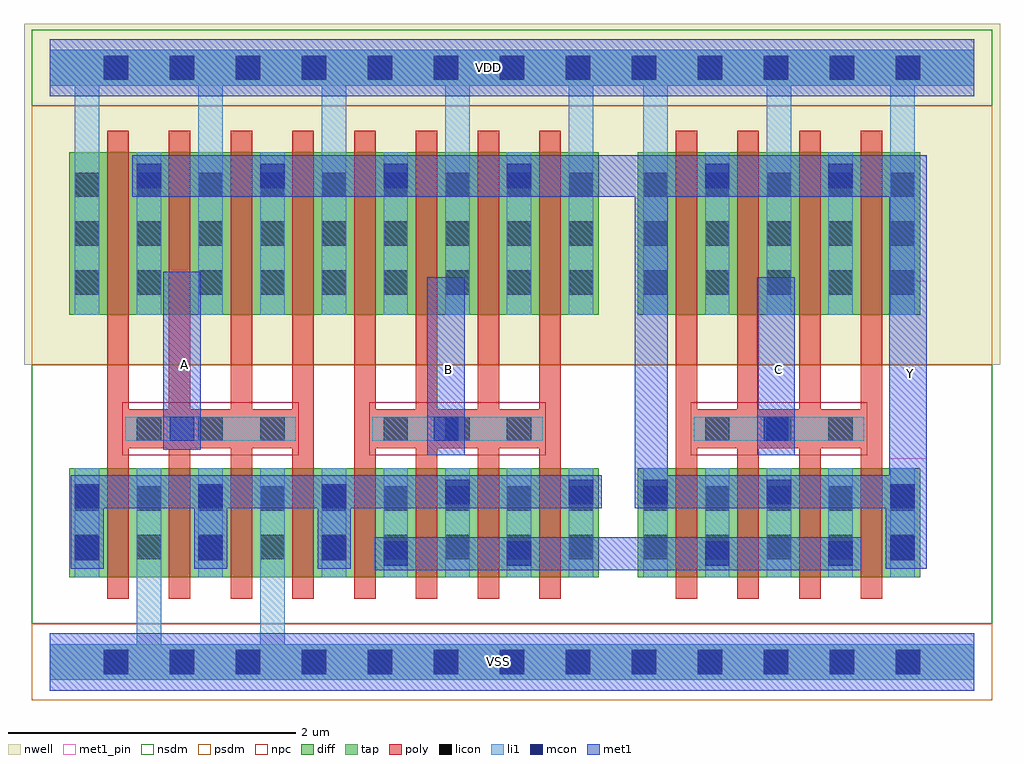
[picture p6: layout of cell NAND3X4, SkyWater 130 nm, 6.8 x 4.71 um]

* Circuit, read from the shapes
.subckt NAND3X4 A B C VDD VSS Y
XM1 VSS A n1 VSS sky130_fd_pr__nfet_01v8 w=0.76 l=0.15 m=4
XM2 n2 B n1 VSS sky130_fd_pr__nfet_01v8 w=0.76 l=0.15 m=4
XM3 n2 C Y VSS sky130_fd_pr__nfet_01v8 w=0.76 l=0.15 m=4
XM4 Y A VDD VDD sky130_fd_pr__pfet_01v8 w=1.13 l=0.15 m=4
XM5 Y B VDD VDD sky130_fd_pr__pfet_01v8 w=1.13 l=0.15 m=4
XM6 Y C VDD VDD sky130_fd_pr__pfet_01v8 w=1.13 l=0.15 m=4
.ends

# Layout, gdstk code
from math import pi, radians
import gdstk
lib = gdstk.Library(unit=1e-6, precision=1e-09)
def R(c, l, rs):  # rectangles x0, y0, x1, y1
    for r in rs: c.add(gdstk.rectangle(r[:2], r[2:], *l))
def A(c, l, x, y, w, h, nx, ny, dx, dy):  # array of equal rectangles
    R(c, l, [(x+i*dx, y+j*dy, x+i*dx+w, y+j*dy+h) for i in range(nx) for j in range(ny)])
nwell = (64, 20)
diff = (65, 20)
tap = (65, 44)
poly = (66, 20)
licon = (66, 44)
li1 = (67, 20)
mcon = (67, 44)
met1_pin = (68, 16)
met1 = (68, 20)
nsdm = (93, 44)
psdm = (94, 20)
npc = (95, 20)

pfet_01v8_cdns_716492285 = lib.new_cell('pfet_01v8_CDNS_71649228522155')
R(pfet_01v8_cdns_716492285, nwell, [(-0.235,-0.18,1.885,1.31)])
A(pfet_01v8_cdns_716492285, diff, 0, 0, 0.15, 1.13, 4, 1, 0.43, 0)
A(pfet_01v8_cdns_716492285, diff, 0.15, 0, 0.28, 1.13, 3, 1, 0.43, 0)
R(pfet_01v8_cdns_716492285, diff, [(-0.055,0,0,1.13), (1.44,0,1.705,1.13)])
A(pfet_01v8_cdns_716492285, poly, 0, -0.15, 0.15, 0.055, 4, 2, 0.43, 1.375)
A(pfet_01v8_cdns_716492285, poly, 0, -0.095, 0.15, 0.095, 4, 2, 0.43, 1.225)
A(pfet_01v8_cdns_716492285, poly, 0, 0, 0.15, 1.13, 4, 1, 0.43, 0)
A(pfet_01v8_cdns_716492285, licon, 0.205, 0.14, 0.17, 0.17, 4, 3, 0.43, 0.34)
A(pfet_01v8_cdns_716492285, li1, 0.205, 0, 0.17, 1.13, 4, 1, 0.43, 0)
R(pfet_01v8_cdns_716492285, psdm, [(-0.065,-0.13,1.845,1.26)])

nfet_01v8_cdns_716492285 = lib.new_cell('nfet_01v8_CDNS_7164922852269')
A(nfet_01v8_cdns_716492285, diff, 0, 0, 0.15, 0.76, 4, 1, 0.43, 0)
A(nfet_01v8_cdns_716492285, diff, 0.15, 0, 0.28, 0.76, 3, 1, 0.43, 0)
R(nfet_01v8_cdns_716492285, diff, [(-0.265,0,0,0.76), (1.44,0,1.705,0.76)])
A(nfet_01v8_cdns_716492285, poly, 0, -0.15, 0.15, 0.055, 4, 2, 0.43, 1.005)
A(nfet_01v8_cdns_716492285, poly, 0, -0.095, 0.15, 0.095, 4, 2, 0.43, 0.855)
A(nfet_01v8_cdns_716492285, poly, 0, 0, 0.15, 0.76, 4, 1, 0.43, 0)
A(nfet_01v8_cdns_716492285, licon, -0.225, 0.125, 0.17, 0.17, 5, 2, 0.43, 0.34)
A(nfet_01v8_cdns_716492285, li1, -0.225, 0, 0.17, 0.76, 5, 1, 0.43, 0)
R(nfet_01v8_cdns_716492285, nsdm, [(-0.405,-0.13,1.845,0.89)])

c_nfet_01v8_cdns_716492285 = lib.new_cell('nfet_01v8_CDNS_71649228522153')
A(c_nfet_01v8_cdns_716492285, diff, 0, 0, 0.15, 0.76, 4, 1, 0.43, 0)
A(c_nfet_01v8_cdns_716492285, diff, 0.15, 0, 0.28, 0.76, 3, 1, 0.43, 0)
R(c_nfet_01v8_cdns_716492285, diff, [(-0.055,0,0,0.76), (1.44,0,1.705,0.76)])
A(c_nfet_01v8_cdns_716492285, poly, 0, -0.15, 0.15, 0.055, 4, 2, 0.43, 1.005)
A(c_nfet_01v8_cdns_716492285, poly, 0, -0.095, 0.15, 0.095, 4, 2, 0.43, 0.855)
A(c_nfet_01v8_cdns_716492285, poly, 0, 0, 0.15, 0.76, 4, 1, 0.43, 0)
A(c_nfet_01v8_cdns_716492285, licon, 0.205, 0.125, 0.17, 0.17, 4, 2, 0.43, 0.34)
A(c_nfet_01v8_cdns_716492285, li1, 0.205, 0, 0.17, 0.76, 4, 1, 0.43, 0)
R(c_nfet_01v8_cdns_716492285, nsdm, [(-0.065,-0.13,1.845,0.89)])

c_pfet_01v8_cdns_716492285 = lib.new_cell('pfet_01v8_CDNS_7164922852280')
R(c_pfet_01v8_cdns_716492285, nwell, [(-0.445,-0.18,1.845,1.31)])
A(c_pfet_01v8_cdns_716492285, diff, 0, 0, 0.15, 1.13, 4, 1, 0.43, 0)
A(c_pfet_01v8_cdns_716492285, diff, 0.15, 0, 0.28, 1.13, 3, 1, 0.43, 0)
R(c_pfet_01v8_cdns_716492285, diff, [(-0.265,0,0,1.13), (1.44,0,1.665,1.13)])
A(c_pfet_01v8_cdns_716492285, poly, 0, -0.15, 0.15, 0.055, 4, 2, 0.43, 1.375)
A(c_pfet_01v8_cdns_716492285, poly, 0, -0.095, 0.15, 0.095, 4, 2, 0.43, 1.225)
A(c_pfet_01v8_cdns_716492285, poly, 0, 0, 0.15, 1.13, 4, 1, 0.43, 0)
A(c_pfet_01v8_cdns_716492285, licon, -0.225, 0.14, 0.17, 0.17, 5, 3, 0.43, 0.34)
A(c_pfet_01v8_cdns_716492285, li1, -0.225, 0, 0.17, 1.13, 5, 1, 0.43, 0)
R(c_pfet_01v8_cdns_716492285, psdm, [(-0.405,-0.13,1.675,1.26)])

c_pfet_01v8_cdns_716492285_ = lib.new_cell('pfet_01v8_CDNS_71649228522158')
R(c_pfet_01v8_cdns_716492285_, nwell, [(-0.445,-0.18,1.885,1.31)])
A(c_pfet_01v8_cdns_716492285_, diff, 0, 0, 0.15, 1.13, 4, 1, 0.43, 0)
A(c_pfet_01v8_cdns_716492285_, diff, 0.15, 0, 0.28, 1.13, 3, 1, 0.43, 0)
R(c_pfet_01v8_cdns_716492285_, diff, [(-0.265,0,0,1.13), (1.44,0,1.705,1.13)])
A(c_pfet_01v8_cdns_716492285_, poly, 0, -0.15, 0.15, 0.055, 4, 2, 0.43, 1.375)
A(c_pfet_01v8_cdns_716492285_, poly, 0, -0.095, 0.15, 0.095, 4, 2, 0.43, 1.225)
A(c_pfet_01v8_cdns_716492285_, poly, 0, 0, 0.15, 1.13, 4, 1, 0.43, 0)
A(c_pfet_01v8_cdns_716492285_, licon, -0.225, 0.14, 0.17, 0.17, 5, 3, 0.43, 0.34)
A(c_pfet_01v8_cdns_716492285_, li1, -0.225, 0, 0.17, 1.13, 5, 1, 0.43, 0)
R(c_pfet_01v8_cdns_716492285_, psdm, [(-0.405,-0.13,1.845,1.26)])

c_nfet_01v8_cdns_716492285_ = lib.new_cell('nfet_01v8_CDNS_71649228522154')
A(c_nfet_01v8_cdns_716492285_, diff, 0, 0, 0.15, 0.76, 4, 1, 0.43, 0)
A(c_nfet_01v8_cdns_716492285_, diff, 0.15, 0, 0.28, 0.76, 3, 1, 0.43, 0)
R(c_nfet_01v8_cdns_716492285_, diff, [(-0.265,0,0,0.76), (1.44,0,1.665,0.76)])
A(c_nfet_01v8_cdns_716492285_, poly, 0, -0.15, 0.15, 0.055, 4, 2, 0.43, 1.005)
A(c_nfet_01v8_cdns_716492285_, poly, 0, -0.095, 0.15, 0.095, 4, 2, 0.43, 0.855)
A(c_nfet_01v8_cdns_716492285_, poly, 0, 0, 0.15, 0.76, 4, 1, 0.43, 0)
A(c_nfet_01v8_cdns_716492285_, licon, -0.225, 0.125, 0.17, 0.17, 5, 2, 0.43, 0.34)
A(c_nfet_01v8_cdns_716492285_, li1, -0.225, 0, 0.17, 0.76, 5, 1, 0.43, 0)
R(c_nfet_01v8_cdns_716492285_, nsdm, [(-0.405,-0.13,1.675,0.89)])

pyl1con_c_cdns_716492285 = lib.new_cell('PYL1CON_C_CDNS_716492285220')
R(pyl1con_c_cdns_716492285, poly, [(-0.135,-0.165,0.135,0.165)])
R(pyl1con_c_cdns_716492285, licon, [(-0.085,-0.085,0.085,0.085)])
R(pyl1con_c_cdns_716492285, npc, [(-0.185,-0.185,0.185,0.185)])

l1m1_c_cdns_716492285223 = lib.new_cell('L1M1_C_CDNS_716492285223')
R(l1m1_c_cdns_716492285223, li1, [(-0.165,-0.085,0.165,0.085)])
R(l1m1_c_cdns_716492285223, mcon, [(-0.085,-0.085,0.085,0.085)])
R(l1m1_c_cdns_716492285223, met1, [(-0.115,-0.145,0.115,0.145)])

l1m1_c_cdns_716492285226 = lib.new_cell('L1M1_C_CDNS_716492285226')
R(l1m1_c_cdns_716492285226, li1, [(-0.085,-0.165,0.085,0.165)])
R(l1m1_c_cdns_716492285226, mcon, [(-0.085,-0.085,0.085,0.085)])
R(l1m1_c_cdns_716492285226, met1, [(-0.145,-0.115,0.145,0.115)])

l1m1_c_cdns_716492285222 = lib.new_cell('L1M1_C_CDNS_716492285222')
R(l1m1_c_cdns_716492285222, li1, [(-0.085,-0.165,0.085,0.165)])
R(l1m1_c_cdns_716492285222, mcon, [(-0.085,-0.085,0.085,0.085)])
R(l1m1_c_cdns_716492285222, met1, [(-0.115,-0.145,0.115,0.145)])

l1m1_c_cdns_716492285225 = lib.new_cell('L1M1_C_CDNS_716492285225')
R(l1m1_c_cdns_716492285225, li1, [(-0.085,-0.345,0.085,0.345)])
R(l1m1_c_cdns_716492285225, mcon, [(-0.085,-0.265,0.085,-0.095), (-0.085,0.095,0.085,0.265)])
R(l1m1_c_cdns_716492285225, met1, [(-0.115,-0.325,0.115,0.325)])

nand3x4 = lib.new_cell('NAND3X4')
R(nand3x4, nwell, [(-0.18,2.07,6.62,4.305), (-0.18,3.875,6.62,4.445)])
A(nand3x4, licon, 0.375, -0.085, 0.17, 0.17, 13, 2, 0.46, 4.14)
A(nand3x4, mcon, 0.375, -0.085, 0.17, 0.17, 13, 2, 0.46, 4.14)
R(nand3x4, met1_pin, [(5.85,1.415,6.11,2.655), (2.63,1.44,2.89,2.68), (4.93,1.44,5.19,2.68), (0.79,1.48,1.05,2.72)])
R(nand3x4, nsdm, [(-0.125,0.265,6.565,2.07), (-0.125,3.875,6.565,4.405), (-0.125,3.93,6.565,4.35)])
R(nand3x4, psdm, [(-0.125,-0.265,6.565,0.265), (-0.125,-0.21,6.565,0.21), (-0.125,2.07,6.565,3.875)])
R(nand3x4, npc, [(0.505,1.44,1.735,1.81), (2.225,1.44,3.455,1.81), (4.465,1.44,5.695,1.81)])
nand3x4.add(gdstk.FlexPath([(0.475,2.42),(0.475,1.35)], 0.15, ends="flush", simple_path=True, layer=66, datatype=20))  # poly
nand3x4.add(gdstk.FlexPath([(1.335,2.42),(1.335,1.35)], 0.15, ends="flush", simple_path=True, layer=66, datatype=20))  # poly
nand3x4.add(gdstk.FlexPath([(2.195,2.42),(2.195,1.35)], 0.15, ends="flush", simple_path=True, layer=66, datatype=20))  # poly
nand3x4.add(gdstk.FlexPath([(3.055,2.42),(3.055,1.35)], 0.15, ends="flush", simple_path=True, layer=66, datatype=20))  # poly
nand3x4.add(gdstk.FlexPath([(4.435,2.42),(4.435,1.35)], 0.15, ends="flush", simple_path=True, layer=66, datatype=20))  # poly
nand3x4.add(gdstk.FlexPath([(5.295,2.42),(5.295,1.35)], 0.15, ends="flush", simple_path=True, layer=66, datatype=20))  # poly
nand3x4.add(gdstk.FlexPath([(0.905,2.42),(0.905,1.35)], 0.15, ends="flush", simple_path=True, layer=66, datatype=20))  # poly
nand3x4.add(gdstk.FlexPath([(1.765,2.42),(1.765,1.35)], 0.15, ends="flush", simple_path=True, layer=66, datatype=20))  # poly
nand3x4.add(gdstk.FlexPath([(2.625,2.42),(2.625,1.35)], 0.15, ends="flush", simple_path=True, layer=66, datatype=20))  # poly
nand3x4.add(gdstk.FlexPath([(3.485,2.42),(3.485,1.35)], 0.15, ends="flush", simple_path=True, layer=66, datatype=20))  # poly
nand3x4.add(gdstk.FlexPath([(4.865,2.42),(4.865,1.35)], 0.15, ends="flush", simple_path=True, layer=66, datatype=20))  # poly
nand3x4.add(gdstk.FlexPath([(5.725,2.42),(5.725,1.35)], 0.15, ends="flush", simple_path=True, layer=66, datatype=20))  # poly
nand3x4.add(gdstk.FlexPath([(0.525,1.625),(1.715,1.625)], 0.17, ends="flush", simple_path=True, layer=67, datatype=20))  # li1
nand3x4.add(gdstk.FlexPath([(4.485,1.625),(5.675,1.625)], 0.17, ends="flush", simple_path=True, layer=67, datatype=20))  # li1
nand3x4.add(gdstk.FlexPath([(2.245,1.625),(3.435,1.625)], 0.17, ends="flush", simple_path=True, layer=67, datatype=20))  # li1
nand3x4.add(gdstk.FlexPath([(0,0),(6.44,0)], 0.25, ends="flush", simple_path=True, layer=67, datatype=20))  # li1
nand3x4.add(gdstk.FlexPath([(5.94,3.55),(5.94,4.265)], 0.17, ends="flush", simple_path=True, layer=67, datatype=20))  # li1
nand3x4.add(gdstk.FlexPath([(5.08,3.55),(5.08,4.265)], 0.17, ends="flush", simple_path=True, layer=67, datatype=20))  # li1
nand3x4.add(gdstk.FlexPath([(4.22,3.55),(4.22,4.265)], 0.17, ends="flush", simple_path=True, layer=67, datatype=20))  # li1
nand3x4.add(gdstk.FlexPath([(0,4.14),(6.44,4.14)], 0.25, ends="flush", simple_path=True, layer=67, datatype=20))  # li1
nand3x4.add(gdstk.FlexPath([(1.55,-0.125),(1.55,0.59)], 0.17, ends="flush", simple_path=True, layer=67, datatype=20))  # li1
nand3x4.add(gdstk.FlexPath([(0.26,3.55),(0.26,4.265)], 0.17, ends="flush", simple_path=True, layer=67, datatype=20))  # li1
nand3x4.add(gdstk.FlexPath([(1.98,3.55),(1.98,4.265)], 0.17, ends="flush", simple_path=True, layer=67, datatype=20))  # li1
nand3x4.add(gdstk.FlexPath([(3.7,3.55),(3.7,4.265)], 0.17, ends="flush", simple_path=True, layer=67, datatype=20))  # li1
nand3x4.add(gdstk.FlexPath([(0.69,-0.125),(0.69,0.59)], 0.17, ends="flush", simple_path=True, layer=67, datatype=20))  # li1
nand3x4.add(gdstk.FlexPath([(1.12,3.55),(1.12,4.265)], 0.17, ends="flush", simple_path=True, layer=67, datatype=20))  # li1
nand3x4.add(gdstk.FlexPath([(2.84,3.55),(2.84,4.265)], 0.17, ends="flush", simple_path=True, layer=67, datatype=20))  # li1
nand3x4.add(gdstk.FlexPath([(0,0),(6.44,0)], 0.25, ends="flush", simple_path=True, layer=65, datatype=44))  # tap
nand3x4.add(gdstk.FlexPath([(0,4.14),(6.44,4.14)], 0.25, ends="flush", simple_path=True, layer=65, datatype=44))  # tap
nand3x4.add(gdstk.FlexPath([(5.98,0.65),(5.98,3.53)], 0.26, ends="flush", simple_path=True, layer=68, datatype=20))  # met1
nand3x4.add(gdstk.FlexPath([(5.06,1.44),(5.06,2.68)], 0.26, ends="flush", simple_path=True, layer=68, datatype=20))  # met1
nand3x4.add(gdstk.FlexPath([(2.76,1.44),(2.76,2.68)], 0.26, ends="flush", simple_path=True, layer=68, datatype=20))  # met1
nand3x4.add(gdstk.FlexPath([(0.92,1.48),(0.92,2.72)], 0.26, ends="flush", simple_path=True, layer=68, datatype=20))  # met1
nand3x4.add(gdstk.FlexPath([(6.055,1.185),(4.075,1.185)], 0.23, ends="flush", simple_path=True, layer=68, datatype=20))  # met1
nand3x4.add(gdstk.FlexPath([(3.845,1.185),(0.145,1.185)], 0.23, ends="flush", simple_path=True, layer=68, datatype=20))  # met1
nand3x4.add(gdstk.FlexPath([(5.655,0.755),(2.265,0.755)], 0.23, ends="flush", simple_path=True, layer=68, datatype=20))  # met1
nand3x4.add(gdstk.FlexPath([(6.055,3.385),(0.575,3.385)], 0.29, ends="flush", simple_path=True, layer=68, datatype=20))  # met1
nand3x4.add(gdstk.FlexPath([(4.19,1.07),(4.19,3.53)], 0.23, ends="flush", simple_path=True, layer=68, datatype=20))  # met1
nand3x4.add(gdstk.FlexPath([(0,0),(6.44,0)], 0.4, ends="flush", simple_path=True, layer=68, datatype=20))  # met1
nand3x4.add(gdstk.FlexPath([(0,4.14),(6.44,4.14)], 0.4, ends="flush", simple_path=True, layer=68, datatype=20))  # met1
nand3x4.add(gdstk.FlexPath([(0,4.14),(6.44,4.14)], 0.4, ends="flush", simple_path=True, layer=68, datatype=16))  # met1_pin
nand3x4.add(gdstk.FlexPath([(0,0),(6.44,0)], 0.4, ends="flush", simple_path=True, layer=68, datatype=16))  # met1_pin
nand3x4.add(gdstk.Reference(pfet_01v8_cdns_716492285, (2.12,2.42)))
nand3x4.add(gdstk.Reference(nfet_01v8_cdns_716492285, (4.36,0.59)))
nand3x4.add(gdstk.Reference(c_nfet_01v8_cdns_716492285, (2.12,0.59)))
nand3x4.add(gdstk.Reference(c_pfet_01v8_cdns_716492285, (0.4,2.42)))
nand3x4.add(gdstk.Reference(c_pfet_01v8_cdns_716492285_, (4.36,2.42)))
nand3x4.add(gdstk.Reference(c_nfet_01v8_cdns_716492285_, (0.4,0.59)))
nand3x4.add(gdstk.Reference(pyl1con_c_cdns_716492285, (5.51,1.625), rotation=3*pi/2, x_reflection=True))
nand3x4.add(gdstk.Reference(pyl1con_c_cdns_716492285, (5.08,1.625), rotation=3*pi/2, x_reflection=True))
nand3x4.add(gdstk.Reference(pyl1con_c_cdns_716492285, (4.65,1.625), rotation=3*pi/2, x_reflection=True))
nand3x4.add(gdstk.Reference(pyl1con_c_cdns_716492285, (3.27,1.625), rotation=3*pi/2, x_reflection=True))
nand3x4.add(gdstk.Reference(pyl1con_c_cdns_716492285, (2.84,1.625), rotation=3*pi/2, x_reflection=True))
nand3x4.add(gdstk.Reference(pyl1con_c_cdns_716492285, (2.41,1.625), rotation=3*pi/2, x_reflection=True))
nand3x4.add(gdstk.Reference(pyl1con_c_cdns_716492285, (1.55,1.625), rotation=3*pi/2, x_reflection=True))
nand3x4.add(gdstk.Reference(pyl1con_c_cdns_716492285, (1.12,1.625), rotation=3*pi/2, x_reflection=True))
nand3x4.add(gdstk.Reference(pyl1con_c_cdns_716492285, (0.69,1.625), rotation=3*pi/2, x_reflection=True))
nand3x4.add(gdstk.Reference(l1m1_c_cdns_716492285223, (5.06,1.625), x_reflection=True))
nand3x4.add(gdstk.Reference(l1m1_c_cdns_716492285223, (2.76,1.625), x_reflection=True))
nand3x4.add(gdstk.Reference(l1m1_c_cdns_716492285223, (0.92,1.625), x_reflection=True))
nand3x4.add(gdstk.Reference(l1m1_c_cdns_716492285226, (5.08,1.185)))
nand3x4.add(gdstk.Reference(l1m1_c_cdns_716492285226, (4.22,1.185)))
nand3x4.add(gdstk.Reference(l1m1_c_cdns_716492285226, (3.7,1.185)))
nand3x4.add(gdstk.Reference(l1m1_c_cdns_716492285226, (2.84,1.185)))
nand3x4.add(gdstk.Reference(l1m1_c_cdns_716492285226, (5.51,0.755)))
nand3x4.add(gdstk.Reference(l1m1_c_cdns_716492285226, (4.65,0.755)))
nand3x4.add(gdstk.Reference(l1m1_c_cdns_716492285226, (3.27,0.755)))
nand3x4.add(gdstk.Reference(l1m1_c_cdns_716492285226, (2.41,0.755)))
nand3x4.add(gdstk.Reference(l1m1_c_cdns_716492285222, (5.51,3.385)))
nand3x4.add(gdstk.Reference(l1m1_c_cdns_716492285222, (4.65,3.385)))
nand3x4.add(gdstk.Reference(l1m1_c_cdns_716492285222, (3.27,3.385)))
nand3x4.add(gdstk.Reference(l1m1_c_cdns_716492285222, (2.41,3.385)))
nand3x4.add(gdstk.Reference(l1m1_c_cdns_716492285222, (1.55,3.385)))
nand3x4.add(gdstk.Reference(l1m1_c_cdns_716492285222, (0.69,3.385)))
nand3x4.add(gdstk.Reference(l1m1_c_cdns_716492285225, (5.94,0.975)))
nand3x4.add(gdstk.Reference(l1m1_c_cdns_716492285225, (1.12,0.975)))
nand3x4.add(gdstk.Reference(l1m1_c_cdns_716492285225, (1.98,0.975)))
nand3x4.add(gdstk.Reference(l1m1_c_cdns_716492285225, (0.26,0.975)))
nand3x4.add(gdstk.Label('Y', (5.995,2.01), layer=68, texttype=5))
nand3x4.add(gdstk.Label('C', (5.075,2.035), layer=68, texttype=5))
nand3x4.add(gdstk.Label('B', (2.775,2.035), layer=68, texttype=5))
nand3x4.add(gdstk.Label('A', (0.935,2.075), layer=68, texttype=5))
nand3x4.add(gdstk.Label('VDD', (3.055,4.145), layer=68, texttype=5))
nand3x4.add(gdstk.Label('VSS', (3.125,0.005), layer=68, texttype=5))

lib.write_gds('NAND3X4.gds')
